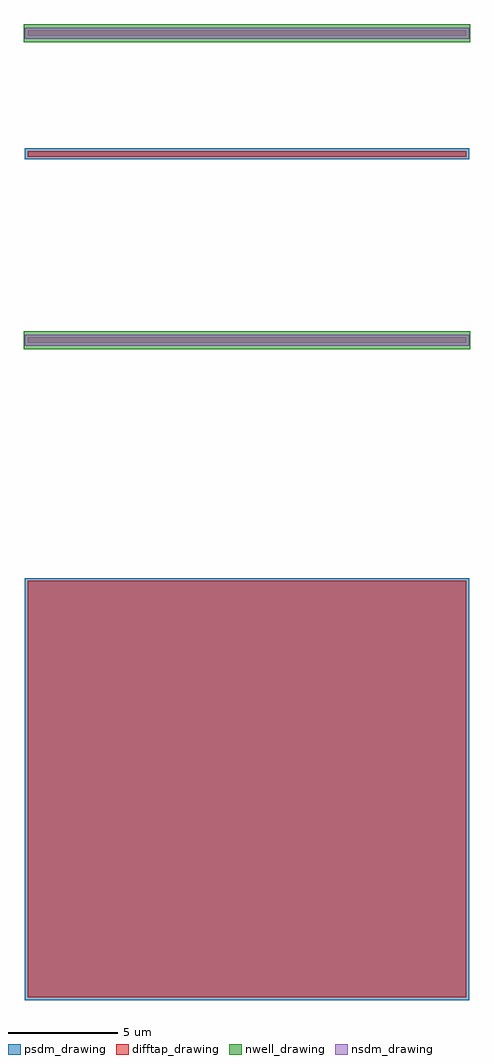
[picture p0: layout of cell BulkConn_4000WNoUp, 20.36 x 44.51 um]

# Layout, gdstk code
import gdstk
lib = gdstk.Library(unit=1e-6, precision=1e-09)
def R(c, l, rs):  # rectangles x0, y0, x1, y1
    for r in rs: c.add(gdstk.rectangle(r[:2], r[2:], *l))
nwell_drawing = (64, 20)
difftap_drawing = (65, 20)
nsdm_drawing = (93, 44)
psdm_drawing = (94, 20)

bulkconn_4000wnoup = lib.new_cell('BulkConn_4000WNoUp')
R(bulkconn_4000wnoup, nwell_drawing, [(-0.18,-0.42,20.18,0.42), (-0.18,13.58,20.18,14.42)])
R(bulkconn_4000wnoup, difftap_drawing, [(0,-29.96,20,-10.975), (0,-0.125,20,0.125), (0,8.375,20,8.625), (0,13.875,20,14.125)])
R(bulkconn_4000wnoup, nsdm_drawing, [(-0.125,-0.25,20.125,0.25), (-0.125,13.75,20.125,14.25)])
R(bulkconn_4000wnoup, psdm_drawing, [(-0.125,-30.085,20.125,-10.85), (-0.125,8.25,20.125,8.75)])

lib.write_gds('BulkConn_4000WNoUp.gds')
